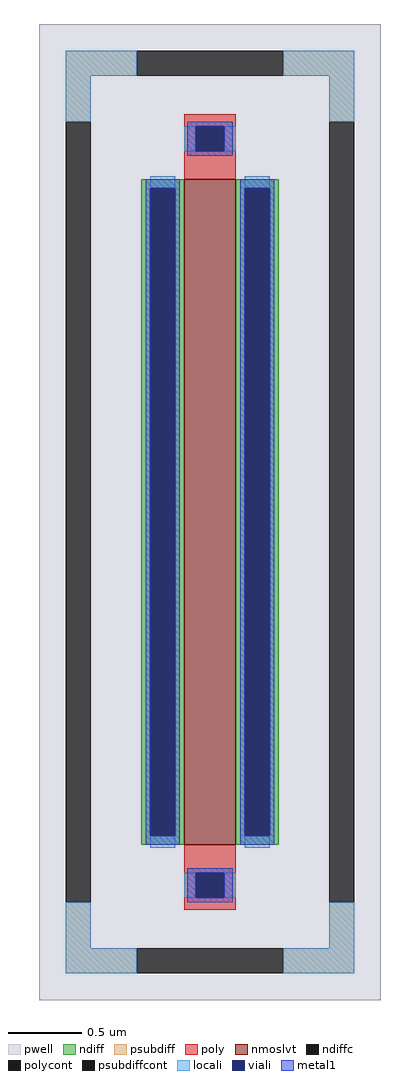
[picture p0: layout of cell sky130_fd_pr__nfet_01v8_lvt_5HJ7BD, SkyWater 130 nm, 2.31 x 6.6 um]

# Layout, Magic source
magic
tech sky130A
magscale 1 2
<< pwell >>
rect -231 -660 231 660
<< nmoslvt >>
rect -35 -450 35 450
<< ndiff >>
rect -93 438 -35 450
rect -93 -438 -81 438
rect -47 -438 -35 438
rect -93 -450 -35 -438
rect 35 438 93 450
rect 35 -438 47 438
rect 81 -438 93 438
rect 35 -450 93 -438
<< ndiffc >>
rect -81 -438 -47 438
rect 47 -438 81 438
<< psubdiff >>
rect -195 590 -99 624
rect 99 590 195 624
rect -195 528 -161 590
rect 161 528 195 590
rect -195 -590 -161 -528
rect 161 -590 195 -528
rect -195 -624 -99 -590
rect 99 -624 195 -590
<< psubdiffcont >>
rect -99 590 99 624
rect -195 -528 -161 528
rect 161 -528 195 528
rect -99 -624 99 -590
<< poly >>
rect -35 522 35 538
rect -35 488 -19 522
rect 19 488 35 522
rect -35 450 35 488
rect -35 -488 35 -450
rect -35 -522 -19 -488
rect 19 -522 35 -488
rect -35 -538 35 -522
<< polycont >>
rect -19 488 19 522
rect -19 -522 19 -488
<< locali >>
rect -195 590 -99 624
rect 99 590 195 624
rect -195 528 -161 590
rect 161 528 195 590
rect -35 488 -19 522
rect 19 488 35 522
rect -81 438 -47 454
rect -81 -454 -47 -438
rect 47 438 81 454
rect 47 -454 81 -438
rect -35 -522 -19 -488
rect 19 -522 35 -488
rect -195 -590 -161 -528
rect 161 -590 195 -528
rect -195 -624 -99 -590
rect 99 -624 195 -590
<< viali >>
rect -19 488 19 522
rect -81 -438 -47 438
rect 47 -438 81 438
rect -19 -522 19 -488
<< metal1 >>
rect -31 522 31 528
rect -31 488 -19 522
rect 19 488 31 522
rect -31 482 31 488
rect -87 438 -41 450
rect -87 -438 -81 438
rect -47 -438 -41 438
rect -87 -450 -41 -438
rect 41 438 87 450
rect 41 -438 47 438
rect 81 -438 87 438
rect 41 -450 87 -438
rect -31 -488 31 -482
rect -31 -522 -19 -488
rect 19 -522 31 -488
rect -31 -528 31 -522
<< properties >>
string FIXED_BBOX -178 -607 178 607
string gencell sky130_fd_pr__nfet_01v8_lvt
string library sky130
string parameters w 4.5 l 0.35 m 1 nf 1 diffcov 100 polycov 100 guard 1 glc 1 grc 1 gtc 1 gbc 1 tbcov 100 rlcov 100 topc 1 botc 1 poverlap 0 doverlap 1 lmin 0.15 wmin 0.42 compatible {sky130_fd_pr__nfet_01v8 sky130_fd_pr__nfet_01v8_lvt  sky130_fd_bs_flash__special_sonosfet_star  sky130_fd_pr__nfet_g5v0d10v5 sky130_fd_pr__nfet_05v0_nvt  sky130_fd_pr__nfet_03v3_nvt} full_metal 1 viasrc 100 viadrn 100 viagate 100 viagb 0 viagr 0 viagl 0 viagt 0
<< end >>
